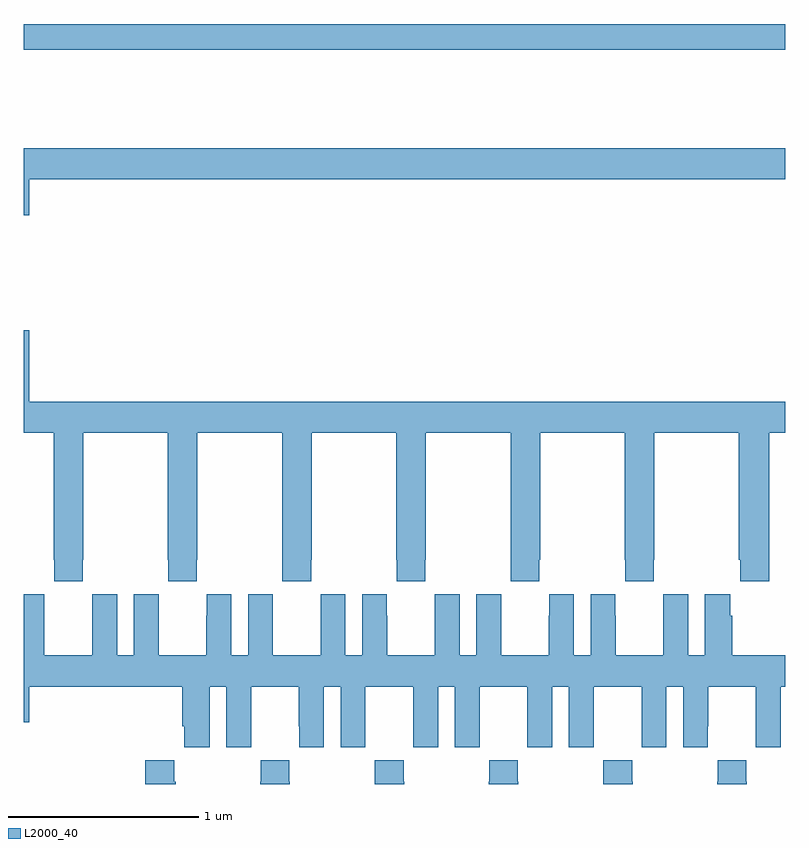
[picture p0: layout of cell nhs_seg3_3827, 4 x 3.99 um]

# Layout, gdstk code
import gdstk
lib = gdstk.Library(unit=1e-6, precision=1e-09)
def R(c, l, rs):  # rectangles x0, y0, x1, y1
    for r in rs: c.add(gdstk.rectangle(r[:2], r[2:], *l))
def P(c, l, *ps):  # polygons
    for p in ps: c.add(gdstk.Polygon(p, *l))
L2000_40 = (2000, 40)

nhs_seg3_3827 = lib.new_cell('nhs_seg3_3827')
R(nhs_seg3_3827, L2000_40, [(309,708.256,313,708.392)])
P(nhs_seg3_3827, L2000_40, [(309.028,707.576),(313,707.576),(313,707.74),(309,707.74),(309,707.388),(309.028,707.388)],
  [(309.309,705.577),(309.312,705.577),(309.312,706.244),(309.757,706.244),(309.757,705.577),(309.759,705.577),(309.759,705.465),(309.909,705.465),(309.909,705.577),(309.912,705.577),(309.912,706.244),(310.357,706.244),(310.357,705.577),(310.359,705.577),(310.359,705.465),(310.509,705.465),(310.509,705.577),(310.512,705.577),(310.512,706.244),(310.957,706.244),(310.957,705.577),(310.959,705.577),(310.959,705.465),(311.109,705.465),(311.109,705.577),(311.112,705.577),(311.112,706.244),(311.557,706.244),(311.557,705.577),(311.559,705.577),(311.559,705.465),(311.709,705.465),(311.709,705.577),(311.712,705.577),(311.712,706.244),(312.157,706.244),(312.157,705.577),(312.159,705.577),(312.159,705.465),(312.309,705.465),(312.309,705.577),(312.312,705.577),(312.312,706.244),(312.757,706.244),(312.757,705.577),(312.763,705.577),(312.763,705.465),(312.917,705.465),(312.917,706.244),(313,706.244),(313,706.408),(309.028,706.408),(309.028,706.783),(309,706.783),(309,706.244),(309.157,706.244),(309.157,705.577),(309.159,705.577),(309.159,705.465),(309.309,705.465)],
  [(309.976,704.912),(310.064,704.912),(310.064,704.592),(310.194,704.592),(310.194,704.704),(310.195,704.704),(310.195,704.912),(310.445,704.912),(310.445,704.704),(310.446,704.704),(310.446,704.592),(310.576,704.592),(310.576,704.912),(310.664,704.912),(310.664,704.592),(310.794,704.592),(310.794,704.704),(310.795,704.704),(310.795,704.912),(311.045,704.912),(311.045,704.704),(311.046,704.704),(311.046,704.592),(311.176,704.592),(311.176,704.912),(311.264,704.912),(311.264,704.592),(311.394,704.592),(311.394,704.704),(311.395,704.704),(311.395,704.912),(311.645,704.912),(311.645,704.704),(311.646,704.704),(311.646,704.592),(311.776,704.592),(311.776,704.912),(311.864,704.912),(311.864,704.592),(311.994,704.592),(311.994,704.704),(311.995,704.704),(311.995,704.912),(312.245,704.912),(312.245,704.704),(312.246,704.704),(312.246,704.592),(312.376,704.592),(312.376,704.912),(312.464,704.912),(312.464,704.592),(312.594,704.592),(312.594,704.704),(312.595,704.704),(312.595,704.912),(312.845,704.912),(312.845,704.704),(312.846,704.704),(312.846,704.592),(312.976,704.592),(312.976,704.912),(313,704.912),(313,705.076),(312.722,705.076),(312.722,705.284),(312.712,705.284),(312.712,705.397),(312.578,705.397),(312.578,705.076),(312.49,705.076),(312.49,705.397),(312.36,705.397),(312.36,705.284),(312.359,705.284),(312.359,705.076),(312.109,705.076),(312.109,705.284),(312.108,705.284),(312.108,705.397),(311.978,705.397),(311.978,705.076),(311.89,705.076),(311.89,705.397),(311.76,705.397),(311.76,705.284),(311.759,705.284),(311.759,705.076),(311.509,705.076),(311.509,705.284),(311.508,705.284),(311.508,705.397),(311.378,705.397),(311.378,705.076),(311.29,705.076),(311.29,705.397),(311.16,705.397),(311.16,705.284),(311.159,705.284),(311.159,705.076),(310.909,705.076),(310.909,705.284),(310.908,705.284),(310.908,705.397),(310.778,705.397),(310.778,705.076),(310.69,705.076),(310.69,705.397),(310.56,705.397),(310.56,705.284),(310.559,705.284),(310.559,705.076),(310.309,705.076),(310.309,705.284),(310.308,705.284),(310.308,705.397),(310.178,705.397),(310.178,705.076),(310.09,705.076),(310.09,705.397),(309.96,705.397),(309.96,705.284),(309.959,705.284),(309.959,705.076),(309.709,705.076),(309.709,705.284),(309.708,705.284),(309.708,705.397),(309.578,705.397),(309.578,705.076),(309.49,705.076),(309.49,705.397),(309.36,705.397),(309.36,705.284),(309.359,705.284),(309.359,705.076),(309.109,705.076),(309.109,705.284),(309.108,705.284),(309.108,705.397),(309,705.397),(309,704.724),(309.028,704.724),(309.028,704.912),(309.833,704.912),(309.833,704.704),(309.842,704.704),(309.842,704.592),(309.976,704.592)],
  [(309.798,704.411),(309.791,704.411),(309.791,704.524),(309.638,704.524),(309.638,704.4),(309.798,704.4)],
  [(310.398,704.411),(310.395,704.411),(310.395,704.524),(310.245,704.524),(310.245,704.411),(310.243,704.411),(310.243,704.4),(310.398,704.4)],
  [(312.798,704.411),(312.795,704.411),(312.795,704.524),(312.645,704.524),(312.645,704.411),(312.643,704.411),(312.643,704.4),(312.798,704.4)],
  [(312.198,704.411),(312.195,704.411),(312.195,704.524),(312.045,704.524),(312.045,704.411),(312.043,704.411),(312.043,704.4),(312.198,704.4)],
  [(311.598,704.411),(311.595,704.411),(311.595,704.524),(311.445,704.524),(311.445,704.411),(311.443,704.411),(311.443,704.4),(311.598,704.4)],
  [(310.998,704.411),(310.995,704.411),(310.995,704.524),(310.845,704.524),(310.845,704.411),(310.843,704.411),(310.843,704.4),(310.998,704.4)])

lib.write_gds('nhs_seg3_3827.gds')
